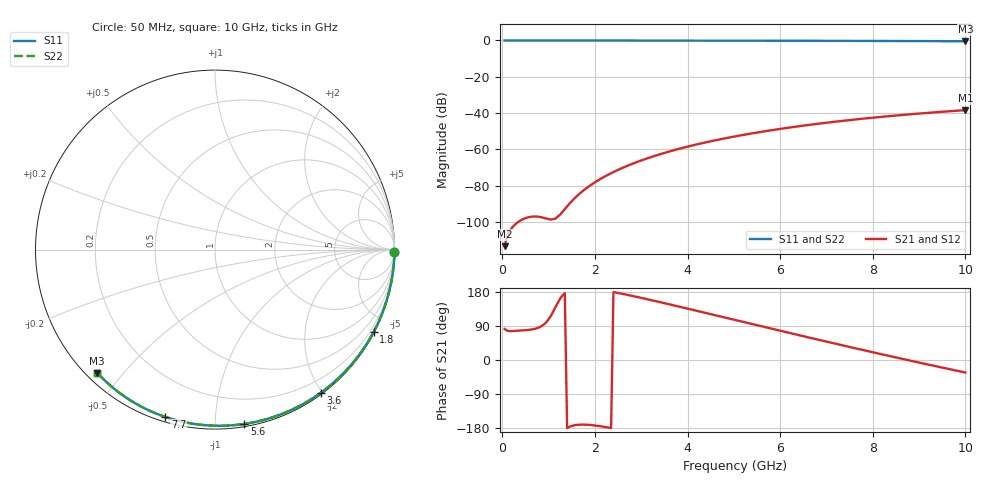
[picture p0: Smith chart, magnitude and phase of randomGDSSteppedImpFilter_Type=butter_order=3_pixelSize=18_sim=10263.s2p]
! freq	dB(S11)	phase(S11)	dB(S12)	phase(S12)
!  dB(S21)	phase(S21)	dB(S22)	phase(S22)
!S-par simulation data
#  GHz  S  DB  R 50
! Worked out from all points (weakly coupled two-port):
!   200 points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, 50 MHz to 10 GHz, reference 50 ohm
!   highest |S21| = -38.39 dB at 10 GHz (marker M1); lowest = -113.3 dB at 50 MHz (marker M2)
!   lowest |S11| = -0.4 dB at 10 GHz (marker M3), VSWR 38.73, Z = 1.53 - j21.4 ohm
!   |S11| at or under -10 dB: nowhere
!   |S22| runs from -0.4 to 0.0 dB; largest |S21 - S12| = 0
!   S11 on the Smith chart (normalised r, x): 50 MHz: open; 1.8 GHz: 0.04, -4.12; 3.6 GHz: 0.02, -1.99; 5.6 GHz: 0.02, -1.18; 7.7 GHz: 0.02, -0.75; 10 GHz: 0.03, -0.43
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0.05  -0.00 -0.8  -113.35 81.8  -113.35 81.8  -0.00 -0.8
0.45  -0.01 -6.9  -98.44 78.3  -98.44 78.3  -0.01 -6.9
0.9  -0.02 -13.8  -97.77 94.1  -97.77 94.1  -0.02 -13.8
1.75  -0.03 -26.6  -82.70 -170.5  -82.70 -170.5  -0.03 -26.6
1.8  -0.03 -27.3  -81.70 -170.7  -81.70 -170.7  -0.03 -27.3
1.9  -0.04 -28.8  -79.86 -171.5  -79.86 -171.5  -0.04 -28.8
2.05  -0.04 -31.0  -77.36 -173.6  -77.36 -173.6  -0.04 -31.0
2.25  -0.04 -34.0  -74.45 -177.4  -74.45 -177.4  -0.04 -34.0
2.45  -0.05 -36.9  -71.89 178.1  -71.89 178.1  -0.05 -36.9
2.65  -0.05 -39.8  -69.60 173.2  -69.60 173.2  -0.05 -39.8
3  -0.06 -44.9  -66.12 164.0  -66.12 164.0  -0.06 -44.9
3.4  -0.07 -50.6  -62.73 152.9  -62.73 152.9  -0.07 -50.6
3.6  -0.07 -53.4  -61.22 147.2  -61.22 147.2  -0.07 -53.4
4.3  -0.09 -63.1  -56.68 126.9  -56.68 126.9  -0.09 -63.1
5.05  -0.11 -73.2  -52.75 104.9  -52.75 104.9  -0.11 -73.2
5.6  -0.13 -80.4  -50.31 88.9  -50.31 88.9  -0.13 -80.4
6.15  -0.15 -87.5  -48.17 72.9  -48.17 72.9  -0.15 -87.4
6.7  -0.18 -94.4  -46.27 57.1  -46.27 57.1  -0.18 -94.3
7.7  -0.24 -106.6  -43.33 28.8  -43.33 28.8  -0.24 -106.6
8.35  -0.29 -114.3  -41.70 10.8  -41.70 10.8  -0.29 -114.3
9.15  -0.36 -123.7  -39.97 -10.8  -39.97 -10.8  -0.36 -123.7
10  -0.45 -133.7  -38.39 -33.0  -38.39 -33.0  -0.45 -133.6
